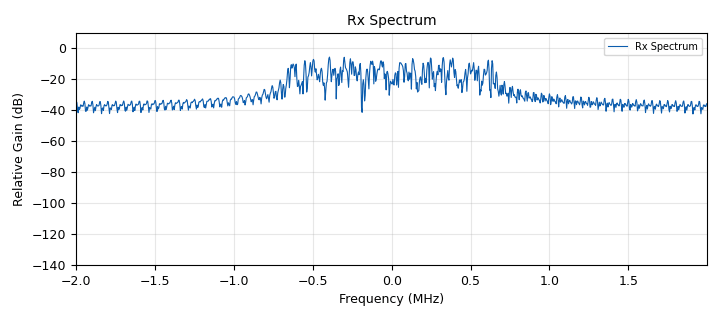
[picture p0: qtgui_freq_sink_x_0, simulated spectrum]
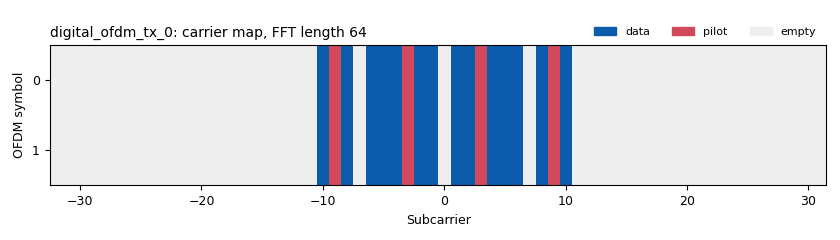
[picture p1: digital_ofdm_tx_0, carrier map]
options:
  parameters:
    category: Custom
    description: Transmit a pre-defined signal (a complex sine) as OFDM packets.
    generate_options: qt_gui
    id: ofdm_loopback_example
    output_language: python
    title: OFDM Loopback Example
  states: {}

blocks:
- name: fft_len
  id: variable
  parameters:
    value: '64'
  states: {}
- name: len_tag_key
  id: variable
  parameters:
    value: '"packet_len"'
  states: {}
- name: occupied_carriers
  id: variable
  parameters:
    value: ((-10,-8,-6,-5,-4,-2,-1,1,2,4,5,6,8,10),)
  states: {}
- name: packet_len
  id: variable
  parameters:
    value: '64'
  states: {}
- name: pilot_carriers
  id: variable
  parameters:
    value: ((-9,-3,3,9),)
  states: {}
- name: pilot_symbols
  id: variable
  parameters:
    value: ((-1,1,-1,1),)
  states: {}
- name: samp_rate
  id: variable
  parameters:
    value: '4000000'
  states: {}
- name: sync_word1
  id: variable
  parameters:
    value: '[0., 0., 0., 0., 0., 0., 0., 1.41421356, 0., -1.41421356, 0., 1.41421356, 0., -1.41421356, 0., -1.41421356, 0., -1.41421356, 0., 1.41421356, 0., -1.41421356, 0., 1.41421356, 0., -1.41421356, 0., -1.41421356, 0., -1.41421356, 0., -1.41421356, 0., 1.41421356, 0., -1.41421356, 0., 1.41421356, 0., 1.41421356, 0., 1.41421356, 0., -1.41421356, 0., 1.41421356, 0., 1.41421356, 0., 1.41421356, 0., -1.41421356, 0., 1.41421356, 0., 1.41421356, 0., 1.41421356, 0., 0., 0., 0., 0., 0.]'
  states: {}
- name: sync_word2
  id: variable
  parameters:
    value: '[0j, 0j, 0j, 0j, 0j, 0j, (-1+0j), (-1+0j), (-1+0j), (-1+0j), (1+0j), (1+0j), (-1+0j), (-1+0j), (-1+0j), (1+0j), (-1+0j), (1+0j), (1+0j), (1 +0j), (1+0j), (1+0j), (-1+0j), (-1+0j), (-1+0j), (-1+0j), (-1+0j), (1+0j), (-1+0j), (-1+0j), (1+0j), (-1+0j), 0j, (1+0j), (-1+0j), (1+0j), (1+0j), (1+0j), (-1+0j), (1+0j), (1+0j), (1+0j), (-1+0j), (1+0j), (1+0j), (1+0j), (1+0j), (-1+0j), (1+0j), (-1+0j), (-1+0j), (-1+0j), (1+0j), (-1+0j), (1+0j), (-1+0j), (-1+0j), (-1+0j), (-1+0j), 0j, 0j, 0j, 0j, 0j]'
  states: {}
- name: blocks_message_debug_0
  id: blocks_message_debug
  parameters: {}
  states: {}
- name: blocks_stream_to_tagged_stream_0
  id: blocks_stream_to_tagged_stream
  parameters:
    len_tag_key: len_tag_key
    packet_len: packet_len
    type: byte
  states: {}
- name: blocks_tag_debug_0
  id: blocks_tag_debug
  parameters:
    display: 'False'
    name: Rx Packets
    type: byte
  states: {}
- name: blocks_uchar_to_float_0
  id: blocks_uchar_to_float
  parameters: {}
  states: {}
- name: blocks_vector_source_x_0
  id: blocks_vector_source_x
  parameters:
    repeat: 'True'
    tags: ()
    type: byte
    vector: list(map(ord, list('qwertyuiopasdfghjklzxcvbnm123456qwertyuiopasdfghjklzxcvbnm123456')))
  states: {}
- name: digital_ofdm_rx_0
  id: digital_ofdm_rx
  parameters:
    cp_len: fft_len//4
    fft_len: fft_len
    header_mod: '"BPSK"'
    occupied_carriers: occupied_carriers
    packet_len_key: rx_len
    payload_mod: '"QPSK"'
    pilot_carriers: pilot_carriers
    pilot_symbols: pilot_symbols
    scramble_bits: 'True'
    sync_word1: sync_word1
    sync_word2: sync_word2
  states: {}
- name: digital_ofdm_tx_0
  id: digital_ofdm_tx
  parameters:
    cp_len: fft_len//4
    fft_len: fft_len
    header_mod: '"BPSK"'
    occupied_carriers: occupied_carriers
    packet_len_key: len_tag_key
    payload_mod: '"QPSK"'
    pilot_carriers: pilot_carriers
    pilot_symbols: pilot_symbols
    rolloff: '0'
    scramble_bits: 'True'
    sync_word1: sync_word1
    sync_word2: sync_word2
  states: {}
- name: iio_pluto_sink_0
  id: iio_pluto_sink
  parameters:
    attenuation1: '15'
    bandwidth: '4000000'
    buffer_size: '32768 '
    cyclic: 'False'
    filter_source: '''Auto'''
    frequency: '776000000'
    samplerate: samp_rate
    type: fc32
  states: {}
- name: pdu_tagged_stream_to_pdu_0
  id: pdu_tagged_stream_to_pdu
  parameters:
    tag: rx_len
    type: byte
  states: {}
- name: qtgui_freq_sink_x_0
  id: qtgui_freq_sink_x
  parameters:
    bw: samp_rate
    fc: '0'
    fftsize: '1024'
    label1: Rx Spectrum
    name: Rx Spectrum
    showports: 'True'
    type: complex
  states: {}
- name: qtgui_freq_sink_x_0_0
  id: qtgui_freq_sink_x
  parameters:
    bw: samp_rate
    fc: '0'
    fftsize: '2048'
    label1: Rx Spectrum
    name: Rx Received
    showports: 'True'
    type: complex
  states: {}
- name: qtgui_time_sink_x_0
  id: qtgui_time_sink_x
  parameters:
    autoscale: 'True'
    label1: ''
    name: Scope Plot
    size: '1024'
    srate: samp_rate
    type: float
  states: {}
- name: soapy_hackrf_source_0
  id: soapy_hackrf_source
  parameters:
    bandwidth: '4000000'
    center_freq: '776000000'
    dev_args: driver=remote,remote=tcp://192.168.128.210:55132,remote:driver=hackrf
    samp_rate: samp_rate
    type: fc32
  states: {}

connections:
- [blocks_stream_to_tagged_stream_0, '0', digital_ofdm_tx_0, '0']
- [blocks_uchar_to_float_0, '0', qtgui_time_sink_x_0, '0']
- [blocks_vector_source_x_0, '0', blocks_stream_to_tagged_stream_0, '0']
- [digital_ofdm_rx_0, '0', blocks_tag_debug_0, '0']
- [digital_ofdm_rx_0, '0', blocks_uchar_to_float_0, '0']
- [digital_ofdm_rx_0, '0', pdu_tagged_stream_to_pdu_0, '0']
- [digital_ofdm_tx_0, '0', iio_pluto_sink_0, '0']
- [digital_ofdm_tx_0, '0', qtgui_freq_sink_x_0, '0']
- [soapy_hackrf_source_0, '0', digital_ofdm_rx_0, '0']
- [soapy_hackrf_source_0, '0', qtgui_freq_sink_x_0_0, '0']

metadata:
  file_format: 1
